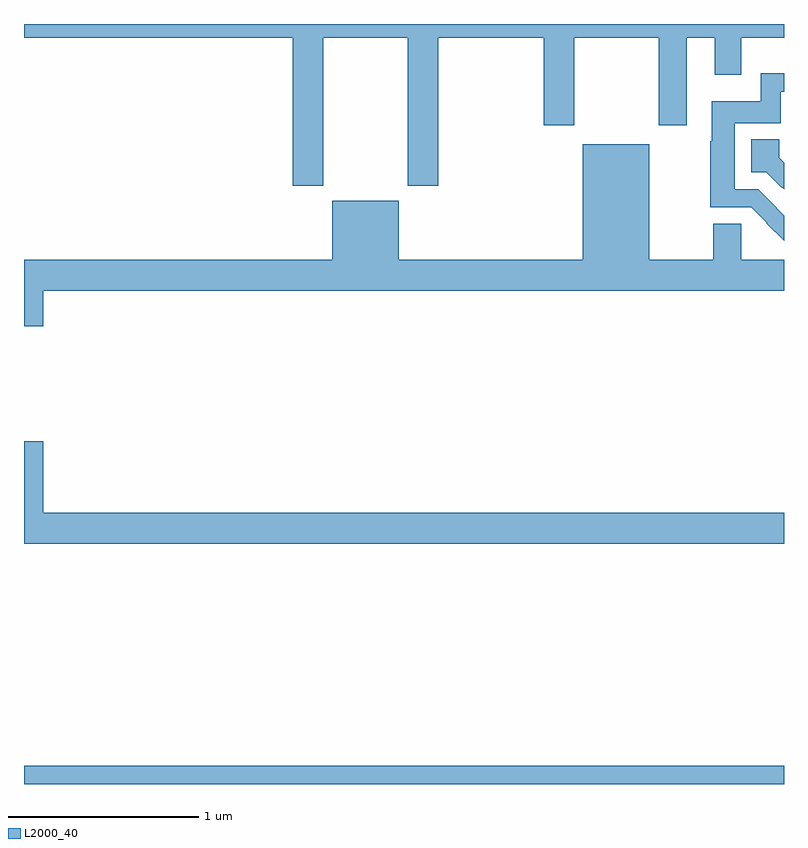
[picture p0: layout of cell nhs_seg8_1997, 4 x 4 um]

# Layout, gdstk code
import gdstk
lib = gdstk.Library(unit=1e-6, precision=1e-09)
def R(c, l, rs):  # rectangles x0, y0, x1, y1
    for r in rs: c.add(gdstk.rectangle(r[:2], r[2:], *l))
def P(c, l, *ps):  # polygons
    for p in ps: c.add(gdstk.Polygon(p, *l))
L2000_40 = (2000, 40)

nhs_seg8_1997 = lib.new_cell('nhs_seg8_1997')
R(nhs_seg8_1997, L2000_40, [(237,1117.9,241,1117.996)])
P(nhs_seg8_1997, L2000_40, [(238.575,1121.828),(239.02,1121.828),(239.02,1121.049),(239.18,1121.049),(239.18,1121.828),(239.735,1121.828),(239.735,1121.367),(239.895,1121.367),(239.895,1121.828),(240.34,1121.828),(240.34,1121.367),(240.487,1121.367),(240.487,1121.828),(240.635,1121.828),(240.635,1121.634),(240.775,1121.634),(240.775,1121.828),(241,1121.828),(241,1121.9),(237,1121.9),(237,1121.828),(238.415,1121.828),(238.415,1121.049),(238.575,1121.049)],
  [(241,1120.892),(240.96,1120.932),(240.962,1120.934),(240.865,1121.031),(240.742,1121.031),(240.742,1121.378),(240.982,1121.378),(240.982,1121.544),(241,1121.544),(241,1121.642),(240.878,1121.642),(240.878,1121.494),(240.62,1121.494),(240.62,1121.282),(240.613,1121.282),(240.613,1120.935),(240.828,1120.935),(240.909,1120.854),(240.907,1120.852),(241,1120.759)],
  [(241,1121.171),(240.976,1121.195),(240.976,1121.293),(240.827,1121.293),(240.827,1121.12),(240.907,1121.12),(240.985,1121.042),(240.986,1121.043),(241,1121.029)],
  [(237.1,1120.496),(241,1120.496),(241,1120.66),(240.774,1120.66),(240.774,1120.85),(240.628,1120.85),(240.628,1120.66),(240.292,1120.66),(240.292,1121.266),(239.942,1121.266),(239.942,1120.66),(238.972,1120.66),(238.972,1120.969),(238.622,1120.969),(238.622,1120.66),(237,1120.66),(237,1120.308),(237.1,1120.308)],
  [(241,1119.328),(237.1,1119.328),(237.1,1119.703),(237,1119.703),(237,1119.164),(241,1119.164)])

lib.write_gds('nhs_seg8_1997.gds')
